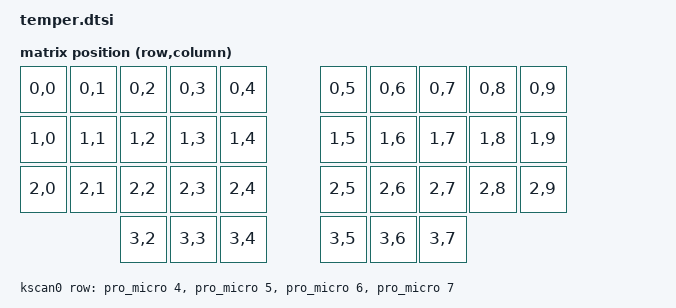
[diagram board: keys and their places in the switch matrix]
/*
 * Copyright (c) 2020 Pete Johanson
 *
 * SPDX-License-Identifier: MIT
 */

#include <dt-bindings/zmk/matrix_transform.h>
#include <physical_layouts.dtsi>

/ {
    chosen {
        zephyr,display = &oled;
        zmk,kscan = &kscan0;
        zmk,physical-layout = &physical_layout0;
    };

    default_transform: keymap_transform_0 {
        compatible = "zmk,matrix-transform";
        columns = <10>;
        rows = <4>;
// | SW1  | SW2  | SW3  | SW4  | SW5  |   | SW5  | SW4  | SW3  | SW2  | SW1  |
// | SW6  | SW7  | SW8  | SW9  | SW10 |   | SW10 | SW9  | SW8  | SW7  | SW6  |
// | SW11 | SW12 | SW13 | SW14 | SW15 |   | SW15 | SW14 | SW13 | SW12 | SW11 |
//               | SW16 | SW17 | SW18 |   | SW18 | SW17 | SW16 |
        map = <
RC(0,0) RC(0,1) RC(0,2) RC(0,3) RC(0,4)  RC(0,5) RC(0,6) RC(0,7) RC(0,8) RC(0,9)
RC(1,0) RC(1,1) RC(1,2) RC(1,3) RC(1,4)  RC(1,5) RC(1,6) RC(1,7) RC(1,8) RC(1,9)
RC(2,0) RC(2,1) RC(2,2) RC(2,3) RC(2,4)  RC(2,5) RC(2,6) RC(2,7) RC(2,8) RC(2,9)
                RC(3,2) RC(3,3) RC(3,4)  RC(3,5) RC(3,6) RC(3,7)
        >;
    };

    kscan0: kscan {
        compatible = "zmk,kscan-gpio-matrix";
        label = "KSCAN";
        wakeup-source;

        diode-direction = "col2row";
        row-gpios
            = <&pro_micro 4 (GPIO_ACTIVE_HIGH | GPIO_PULL_DOWN)>
            , <&pro_micro 5 (GPIO_ACTIVE_HIGH | GPIO_PULL_DOWN)>
            , <&pro_micro 6 (GPIO_ACTIVE_HIGH | GPIO_PULL_DOWN)>
            , <&pro_micro 7 (GPIO_ACTIVE_HIGH | GPIO_PULL_DOWN)>
            ;
    };

    chocofi_temper_layout: chocofi_temper_layout {
        display-name = "Chocofi Temper";
        compatible = "zmk,physical-layout";
        transform = <&default_transform>; // Label of the matrix transform this layout uses

        keys  //                     w   h    x    y     rot    rx    ry
            = <&key_physical_attrs 100 100    0   95       0     0     0>
            , <&key_physical_attrs 100 100  100   32       0     0     0>
            , <&key_physical_attrs 100 100  200    0       0     0     0>
            , <&key_physical_attrs 100 100  300   28       0     0     0>
            , <&key_physical_attrs 100 100  400   42       0     0     0>
            , <&key_physical_attrs 100 100  700   42       0     0     0>
            , <&key_physical_attrs 100 100  800   28       0     0     0>
            , <&key_physical_attrs 100 100  900    0       0     0     0>
            , <&key_physical_attrs 100 100 1000   32       0     0     0>
            , <&key_physical_attrs 100 100 1100   95       0     0     0>
            , <&key_physical_attrs 100 100    0  195       0     0     0>
            , <&key_physical_attrs 100 100  100  132       0     0     0>
            , <&key_physical_attrs 100 100  200  100       0     0     0>
            , <&key_physical_attrs 100 100  300  129       0     0     0>
            , <&key_physical_attrs 100 100  400  142       0     0     0>
            , <&key_physical_attrs 100 100  700  142       0     0     0>
            , <&key_physical_attrs 100 100  800  129       0     0     0>
            , <&key_physical_attrs 100 100  900  100       0     0     0>
            , <&key_physical_attrs 100 100 1000  132       0     0     0>
            , <&key_physical_attrs 100 100 1100  195       0     0     0>
            , <&key_physical_attrs 100 100    0  295       0     0     0>
            , <&key_physical_attrs 100 100  100  231       0     0     0>
            , <&key_physical_attrs 100 100  200  200       0     0     0>
            , <&key_physical_attrs 100 100  300  229       0     0     0>
            , <&key_physical_attrs 100 100  400  242       0     0     0>
            , <&key_physical_attrs 100 100  700  242       0     0     0>
            , <&key_physical_attrs 100 100  800  229       0     0     0>
            , <&key_physical_attrs 100 100  900  200       0     0     0>
            , <&key_physical_attrs 100 100 1000  231       0     0     0>
            , <&key_physical_attrs 100 100 1100  295       0     0     0>
            , <&key_physical_attrs 100 100  350  312    1200   350   412>
            , <&key_physical_attrs 100 150  448  283    2400   448   433>
            , <&key_physical_attrs 100 150  652  283  (-2400)  752   433>
            , <&key_physical_attrs 100 100  750  312  (-1200)  850   412>
            , <&key_physical_attrs 100 100  850  312       0     0     0>
        ;
    };

    position_map {
		compatible = "zmk,physical-layout-position-map";
		complete;

        default {
            physical-layout = <&chocofi_temper_layout>;
            positions
                = < 0  1  2  3  4  5  6  7  8  9>
                , <10 11 12 13 14 15 16 17 18 19>
                , <20 21 22 23 24 25 26 27 28 29>
                , <      30 31 32 33 34 35      >;
        }
};

&pro_micro_i2c {
    status = "okay";

    oled: ssd1306@3c {
        compatible = "solomon,ssd1306fb";
        reg = <0x3c>;
        label = "DISPLAY";
        width = <128>;
        height = <32>;
        segment-offset = <0>;
        page-offset = <0>;
        display-offset = <0>;
        multiplex-ratio = <31>;
        segment-remap;
        com-invdir;
        com-sequential;
        prechargep = <0x22>;
    };
};
